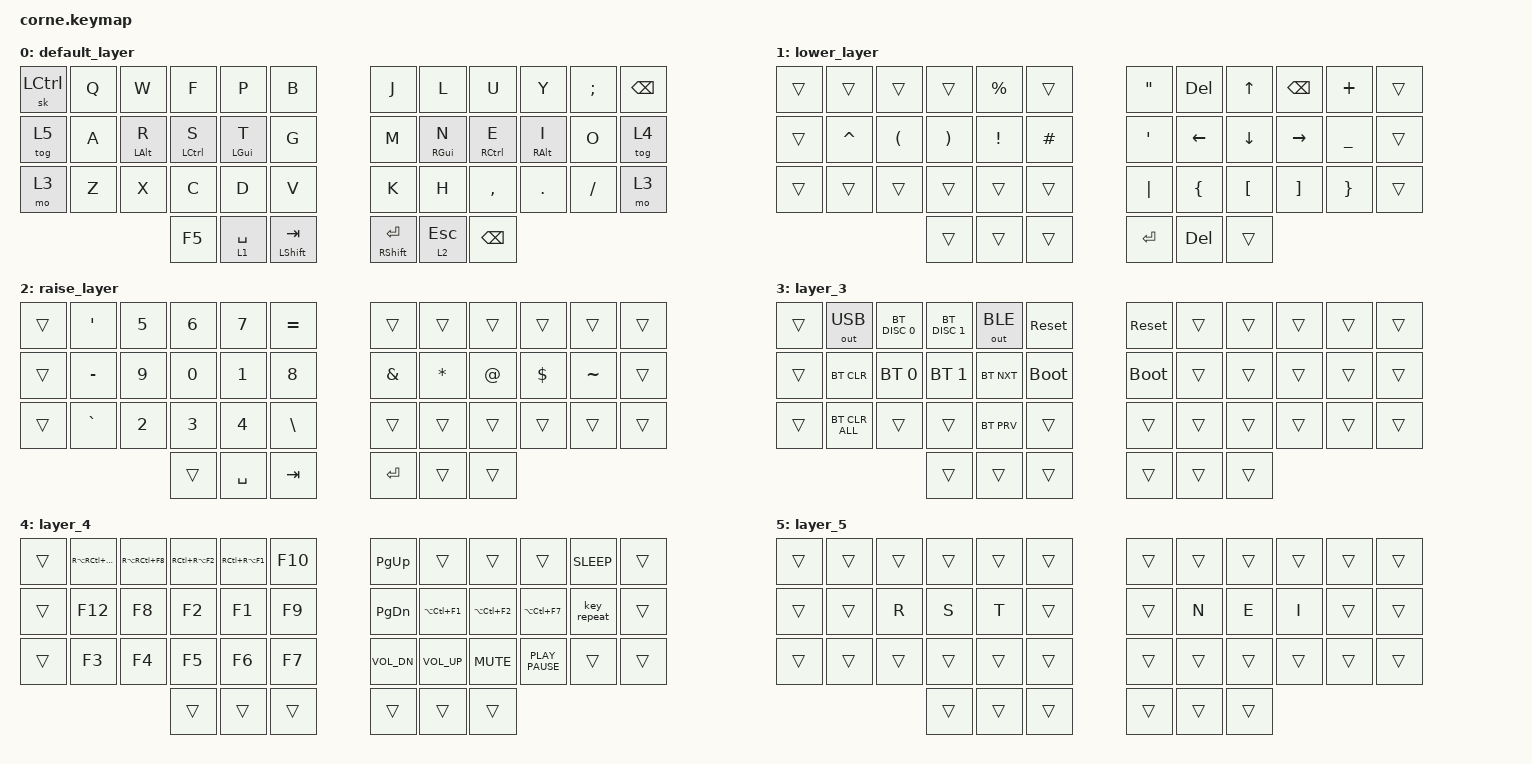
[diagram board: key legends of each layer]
/*
 * Copyright (c) 2020 The ZMK Contributors
 *
 * SPDX-License-Identifier: MIT
 */

#include <behaviors.dtsi>
#include <dt-bindings/zmk/bt.h>
#include <dt-bindings/zmk/keys.h>
#include <dt-bindings/zmk/outputs.h>

/ {
    combos {
        compatible = "zmk,combos";

        combo_esc {
            timeout-ms = <50>;
            key-positions = <0 1>;
            bindings = <&kp ESC>;
        };
    };

    behaviors {
        ss_hs_modmorph: ss_hs_modmorph {
            compatible = "zmk,behavior-mod-morph";
            label = "SS_HS_MODMORPH";
            bindings = <&kp M>, <&kp RIGHT_BRACKET>;

            #binding-cells = <0>;
            mods = <(MOD_LSFT|MOD_RSFT)>;
        };

        kh_hs_tapdance: kh_hs_tapdance {
            compatible = "zmk,behavior-tap-dance";
            label = "KH_HS_TAPDANCE";
            #binding-cells = <0>;
            tapping-term-ms = <200>;
            bindings = <&kp LEFT_BRACKET>, <&kp RIGHT_BRACKET>;
        };

        hrm: hrm {
            compatible = "zmk,behavior-hold-tap";
            #binding-cells = <2>;
            flavor = "tap-preferred";
            tapping-term-ms = <200>;
            quick-tap-ms = <200>;
            require-prior-idle-ms = <125>;
            bindings = <&kp>, <&kp>;
        };
    };

    keymap {
        compatible = "zmk,keymap";

        default_layer {
            // -----------------------------------------------------------------------------------------
            // |  TAB |  Q  |  W  |  E  |  R  |  T  |   |  Y  |  U   |  I  |  O  |  P  | BKSP |
            // | CTRL |  A  |  S  |  D  |  F  |  G  |   |  H  |  J   |  K  |  L  |  ;  |  '   |
            // | SHFT |  Z  |  X  |  C  |  V  |  B  |   |  N  |  M   |  ,  |  .  |  /  | ESC  |
            //                    | GUI | LWR | SPC |   | ENT | RSE  | ALT |

            bindings = <
&sk LCTRL  &kp Q  &kp W           &kp F        &kp P        &kp B            &kp J            &kp L         &kp U          &kp Y            &kp SEMICOLON  &kp BSPC
&tog 5     &kp A  &mt LEFT_ALT R  &mt LCTRL S  &mt LGUI T   &kp G            &kp M            &mt RGUI N    &mt RCTRL E    &mt RIGHT_ALT I  &kp O          &tog 4
&mo 3      &kp Z  &kp X           &kp C        &kp D        &kp V            &kp K            &kp H         &kp COMMA      &kp DOT          &kp SLASH      &mo 3
                                  &kp F5       &lt 1 SPACE  &mt LSHFT TAB    &mt RSHFT ENTER  &lt 2 ESCAPE  &kp BACKSPACE
            >;
        };

        lower_layer {
            // -----------------------------------------------------------------------------------------
            // |  TAB |  1  |  2  |  3  |  4  |  5  |   |  6  |  7  |  8  |  9  |  0  | BKSP |
            // | BTCLR| BT1 | BT2 | BT3 | BT4 | BT5 |   | LFT | DWN |  UP | RGT |     |      |
            // | SHFT |     |     |     |     |     |   |     |     |     |     |     |      |
            //                    | GUI |     | SPC |   | ENT |     | ALT |

            bindings = <
&trans  &trans     &trans                &trans                 &kp PERCENT      &trans      &kp DOUBLE_QUOTES  &kp DEL         &kp UP            &kp BACKSPACE      &kp PLUS         &trans
&trans  &kp CARET  &kp LEFT_PARENTHESIS  &kp RIGHT_PARENTHESIS  &kp EXCLAMATION  &kp HASH    &kp SQT            &kp LEFT_ARROW  &kp DOWN_ARROW    &kp RIGHT          &kp UNDERSCORE   &trans
&trans  &trans     &trans                &trans                 &trans           &trans      &kp PIPE           &kp LEFT_BRACE  &kp LEFT_BRACKET  &kp RIGHT_BRACKET  &kp RIGHT_BRACE  &trans
                                         &trans                 &trans           &trans      &kp RET            &kp DEL         &trans
            >;
        };

        raise_layer {
            // -----------------------------------------------------------------------------------------
            // |  TAB |  !  |  @  |  #  |  $  |  %  |   |  ^  |  &  |  *  |  (  |  )  | BKSP |
            // | CTRL |     |     |     |     |     |   |  -  |  =  |  [  |  ]  |  \  |  `   |
            // | SHFT |     |     |     |     |     |   |  _  |  +  |  {  |  }  | "|" |  ~   |
            //                    | GUI |     | SPC |   | ENT |     | ALT |

            bindings = <
&trans  &kp SQT    &kp N5        &kp NUMBER_6  &kp N7        &kp EQUAL        &trans         &trans        &trans       &trans      &trans     &trans
&trans  &kp MINUS  &kp N9        &kp N0        &kp NUMBER_1  &kp N8           &kp AMPERSAND  &kp ASTERISK  &kp AT_SIGN  &kp DOLLAR  &kp TILDE  &trans
&trans  &kp GRAVE  &kp NUMBER_2  &kp NUMBER_3  &kp NUMBER_4  &kp BACKSLASH    &trans         &trans        &trans       &trans      &trans     &trans
                                 &trans        &kp SPACE     &kp TAB          &kp RET        &trans        &trans
            >;
        };

        layer_3 {
            bindings = <
&trans  &out OUT_USB    &bt BT_DISC 0  &bt BT_DISC 1  &out OUT_BLE  &sys_reset     &sys_reset   &trans  &trans  &trans  &trans  &trans
&trans  &bt BT_CLR      &bt BT_SEL 0   &bt BT_SEL 1   &bt BT_NXT    &bootloader    &bootloader  &trans  &trans  &trans  &trans  &trans
&trans  &bt BT_CLR_ALL  &trans         &trans         &bt BT_PRV    &trans         &trans       &trans  &trans  &trans  &trans  &trans
                                       &trans         &trans        &trans         &trans       &trans  &trans
            >;
        };

        layer_4 {
            bindings = <
&trans  &kp RA(RC(F12))  &kp RA(RC(F8))  &kp RC(RA(F2))  &kp RC(RA(F1))  &kp F10    &kp PAGE_UP    &trans          &trans          &trans            &kp K_SLEEP  &trans
&trans  &kp F12          &kp F8          &kp F2          &kp F1          &kp F9     &kp PAGE_DOWN  &kp LA(LC(F1))  &kp LA(LC(F2))  &kp LA(LC(F7))    &key_repeat  &trans
&trans  &kp F3           &kp F4          &kp F5          &kp F6          &kp F7     &kp C_VOL_DN   &kp C_VOL_UP    &kp C_MUTE      &kp K_PLAY_PAUSE  &trans       &trans
                                         &trans          &trans          &trans     &trans         &trans          &trans
            >;
        };

        layer_5 {
            bindings = <
&trans  &trans  &trans  &trans  &trans  &trans    &trans  &trans  &trans  &trans  &trans  &trans
&trans  &trans  &kp R   &kp S   &kp T   &trans    &trans  &kp N   &kp E   &kp I   &trans  &trans
&trans  &trans  &trans  &trans  &trans  &trans    &trans  &trans  &trans  &trans  &trans  &trans
                        &trans  &trans  &trans    &trans  &trans  &trans
            >;
        };
    };

    conditional_layers {
        compatible = "zmk,conditional-layers";

        CondLayer {
            if-layers = <1 3>;
            then-layer = <4>;
        };
    };
};
